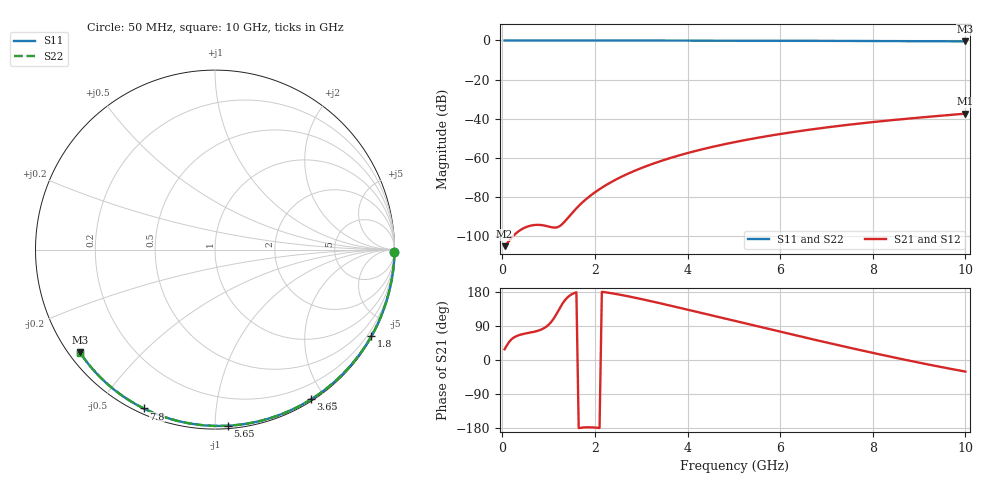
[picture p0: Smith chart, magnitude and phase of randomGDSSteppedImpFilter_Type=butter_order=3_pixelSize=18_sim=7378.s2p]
! freq	dB(S11)	phase(S11)	dB(S12)	phase(S12)
!  dB(S21)	phase(S21)	dB(S22)	phase(S22)
!S-par simulation data
#  GHz  S  DB  R 50
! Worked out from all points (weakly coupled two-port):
!   200 points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, 50 MHz to 10 GHz, reference 50 ohm
!   highest |S21| = -37.36 dB at 10 GHz (marker M1); lowest = -105.0 dB at 50 MHz (marker M2)
!   lowest |S11| = -0.5 dB at 10 GHz (marker M3), VSWR 35.75, Z = 1.56 - j16.8 ohm
!   |S11| at or under -10 dB: nowhere
!   |S22| runs from -0.5 to 0.0 dB; largest |S21 - S12| = 0
!   S11 on the Smith chart (normalised r, x): 50 MHz: open; 1.8 GHz: 0.03, -3.87; 3.65 GHz: 0.02, -1.83; 5.65 GHz: 0.02, -1.08; 7.8 GHz: 0.02, -0.65; 10 GHz: 0.03, -0.34
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0.05  -0.00 -0.8  -105.01 28.3  -105.01 28.3  -0.00 -0.8
0.45  -0.01 -7.4  -95.96 68.6  -95.96 68.6  -0.01 -7.3
0.9  -0.02 -14.6  -94.44 84.0  -94.44 84.0  -0.02 -14.6
1.3  -0.03 -21.0  -93.62 148.9  -93.62 148.9  -0.03 -21.0
1.75  -0.04 -28.2  -82.24 -178.0  -82.24 -178.0  -0.04 -28.2
1.8  -0.04 -29.0  -81.20 -177.6  -81.20 -177.6  -0.04 -28.9
1.85  -0.04 -29.8  -80.22 -177.5  -80.22 -177.5  -0.04 -29.7
2.2  -0.04 -35.2  -74.40 179.2  -74.40 179.2  -0.04 -35.2
2.55  -0.05 -40.7  -69.84 172.1  -69.84 172.1  -0.05 -40.6
2.95  -0.06 -46.8  -65.63 162.2  -65.63 162.2  -0.06 -46.8
3.4  -0.07 -53.6  -61.73 149.9  -61.73 149.9  -0.07 -53.6
3.65  -0.08 -57.3  -59.85 142.9  -59.85 142.9  -0.08 -57.3
4.3  -0.09 -66.8  -55.65 124.1  -55.65 124.1  -0.09 -66.8
5.05  -0.12 -77.5  -51.74 102.2  -51.74 102.2  -0.12 -77.4
5.65  -0.14 -85.8  -49.12 84.8  -49.12 84.8  -0.14 -85.7
6.15  -0.16 -92.6  -47.21 70.4  -47.21 70.4  -0.16 -92.5
6.7  -0.19 -99.9  -45.33 54.7  -45.33 54.7  -0.19 -99.8
7.25  -0.23 -107.1  -43.66 39.3  -43.66 39.3  -0.23 -107.0
7.8  -0.26 -114.2  -42.17 24.2  -42.17 24.2  -0.26 -114.1
8.35  -0.31 -121.3  -40.83 9.5  -40.83 9.5  -0.31 -121.2
9.2  -0.39 -132.2  -38.97 -11.9  -38.97 -11.9  -0.39 -132.1
10  -0.49 -142.8  -37.36 -30.6  -37.36 -30.6  -0.49 -142.7
